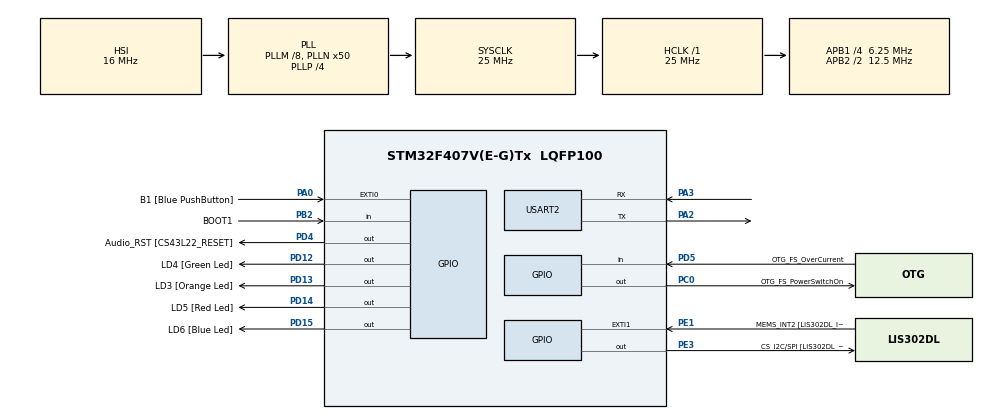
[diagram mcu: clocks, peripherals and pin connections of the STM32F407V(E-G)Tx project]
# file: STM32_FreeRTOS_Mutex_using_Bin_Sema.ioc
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Mcu.Family=STM32F4
Mcu.Name=STM32F407V(E-G)Tx
Mcu.Package=LQFP100
NVIC.PriorityGroup=NVIC_PRIORITYGROUP_4
NVIC.TIM6_DAC_IRQn=true\:0\:0\:false\:false\:true\:false\:true
NVIC.TimeBase=TIM6_DAC_IRQn
NVIC.TimeBaseIP=TIM6
PA0-WKUP.GPIO_Label=B1 [Blue PushButton]
PA0-WKUP.Signal=GPXTI0
PA10.GPIO_Label=OTG_FS_ID
PA10.GPIO_Mode=GPIO_MODE_AF_PP
PA10.GPIO_PuPd=GPIO_NOPULL
PA10.GPIO_Speed=GPIO_SPEED_FREQ_LOW
PA10.Signal=USB_OTG_FS_ID
PA11.GPIO_Label=OTG_FS_DM
PA11.GPIO_Mode=GPIO_MODE_AF_PP
PA11.GPIO_PuPd=GPIO_NOPULL
PA11.GPIO_Speed=GPIO_SPEED_FREQ_LOW
PA11.Signal=USB_OTG_FS_DM
PA12.GPIO_Label=OTG_FS_DP
PA12.GPIO_Mode=GPIO_MODE_AF_PP
PA12.GPIO_PuPd=GPIO_NOPULL
PA12.GPIO_Speed=GPIO_SPEED_FREQ_LOW
PA12.Signal=USB_OTG_FS_DP
PA13.GPIO_Label=SWDIO
PA13.Signal=SYS_JTMS-SWDIO
PA14.GPIO_Label=SWCLK
PA14.Signal=SYS_JTCK-SWCLK
PA2.Mode=Asynchronous
PA2.Signal=USART2_TX
PA3.Mode=Asynchronous
PA3.Signal=USART2_RX
PA4.GPIO_Label=I2S3_WS [CS43L22_LRCK]
PA4.GPIO_Mode=GPIO_MODE_AF_PP
PA4.GPIO_PuPd=GPIO_NOPULL
PA4.GPIO_Speed=GPIO_SPEED_FREQ_LOW
PA4.Signal=I2S3_WS
PA5.GPIO_Label=SPI1_SCK [LIS302DL_SCL/SPC]
PA5.GPIO_Mode=GPIO_MODE_AF_PP
PA5.GPIO_PuPd=GPIO_NOPULL
PA5.GPIO_Speed=GPIO_SPEED_FREQ_LOW
PA5.Signal=SPI1_SCK
PA6.GPIO_Label=SPI1_MISO [LIS302DL_SDO]
PA6.GPIO_Mode=GPIO_MODE_AF_PP
PA6.GPIO_PuPd=GPIO_NOPULL
PA6.GPIO_Speed=GPIO_SPEED_FREQ_LOW
PA6.Signal=SPI1_MISO
PA7.GPIO_Label=SPI1_MOSI [LIS302DL_SDA/SDI/SDO]
PA7.GPIO_Mode=GPIO_MODE_AF_PP
PA7.GPIO_PuPd=GPIO_NOPULL
PA7.GPIO_Speed=GPIO_SPEED_FREQ_LOW
PA7.Signal=SPI1_MOSI
PA9.GPIO_Label=VBUS_FS
PA9.GPIO_Mode=GPIO_MODE_INPUT
PA9.GPIO_PuPd=GPIO_NOPULL
PA9.Signal=USB_OTG_FS_VBUS
PB10.GPIO_Label=CLK_IN [MP45DT02_CLK]
PB10.GPIO_Mode=GPIO_MODE_AF_PP
PB10.GPIO_PuPd=GPIO_NOPULL
PB10.GPIO_Speed=GPIO_SPEED_FREQ_LOW
PB10.Signal=I2S2_CK
PB2.GPIO_Label=BOOT1
PB2.GPIO_Mode=GPIO_MODE_INPUT
PB2.GPIO_PuPd=GPIO_NOPULL
PB2.Signal=GPIO_Input
PB3.GPIO_Label=SWO
PB3.Signal=SYS_JTDO-SWO
PB6.GPIO_Label=Audio_SCL [CS43L22_SCL]
PB6.GPIO_Mode=GPIO_MODE_AF_OD
PB6.GPIO_PuPd=GPIO_NOPULL
PB6.GPIO_Speed=GPIO_SPEED_FREQ_LOW
PB6.Signal=I2C1_SCL
PB9.GPIO_Label=Audio_SDA [CS43L22_SDA]
PB9.GPIO_Mode=GPIO_MODE_AF_OD
PB9.GPIO_PuPd=GPIO_NOPULL
PB9.GPIO_Speed=GPIO_SPEED_FREQ_LOW
PB9.Signal=I2C1_SDA
PC0.GPIO_Label=OTG_FS_PowerSwitchOn
PC0.GPIO_PuPd=GPIO_NOPULL
PC0.GPIO_Speed=GPIO_SPEED_FREQ_LOW
PC0.PinState=GPIO_PIN_SET
PC0.Signal=GPIO_Output
PC10.GPIO_Label=I2S3_SCK [CS43L22_SCLK]
PC10.GPIO_Mode=GPIO_MODE_AF_PP
PC10.GPIO_PuPd=GPIO_NOPULL
PC10.GPIO_Speed=GPIO_SPEED_FREQ_LOW
PC10.Signal=I2S3_CK
PC12.GPIO_Label=I2S3_SD [CS43L22_SDIN]
PC12.GPIO_Mode=GPIO_MODE_AF_PP
PC12.GPIO_PuPd=GPIO_NOPULL
PC12.GPIO_Speed=GPIO_SPEED_FREQ_LOW
PC12.Signal=I2S3_SD
PC14-OSC32_IN.GPIO_Label=PC14-OSC32_IN
PC14-OSC32_IN.Signal=RCC_OSC32_IN
PC15-OSC32_OUT.GPIO_Label=PC15-OSC32_OUT
PC15-OSC32_OUT.Signal=RCC_OSC32_OUT
PC3.GPIO_Label=PDM_OUT [MP45DT02_DOUT]
PC3.GPIO_Mode=GPIO_MODE_AF_PP
PC3.GPIO_PuPd=GPIO_NOPULL
PC3.GPIO_Speed=GPIO_SPEED_FREQ_LOW
PC3.Signal=I2S2_SD
PC7.GPIO_Label=I2S3_MCK [CS43L22_MCLK]
PC7.GPIO_Mode=GPIO_MODE_AF_PP
PC7.GPIO_PuPd=GPIO_NOPULL
PC7.GPIO_Speed=GPIO_SPEED_FREQ_LOW
PC7.Signal=I2S3_MCK
PD12.GPIO_Label=LD4 [Green Led]
PD12.GPIO_PuPd=GPIO_NOPULL
PD12.GPIO_Speed=GPIO_SPEED_FREQ_LOW
PD12.Signal=GPIO_Output
PD13.GPIO_Label=LD3 [Orange Led]
PD13.GPIO_PuPd=GPIO_NOPULL
PD13.GPIO_Speed=GPIO_SPEED_FREQ_LOW
PD13.Signal=GPIO_Output
PD14.GPIO_Label=LD5 [Red Led]
PD14.GPIO_PuPd=GPIO_NOPULL
PD14.GPIO_Speed=GPIO_SPEED_FREQ_LOW
PD14.Signal=GPIO_Output
PD15.GPIO_Label=LD6 [Blue Led]
PD15.GPIO_PuPd=GPIO_NOPULL
PD15.GPIO_Speed=GPIO_SPEED_FREQ_LOW
PD15.Signal=GPIO_Output
PD4.GPIO_Label=Audio_RST [CS43L22_RESET]
PD4.GPIO_PuPd=GPIO_NOPULL
PD4.GPIO_Speed=GPIO_SPEED_FREQ_LOW
PD4.Signal=GPIO_Output
PD5.GPIO_Label=OTG_FS_OverCurrent
PD5.GPIO_Mode=GPIO_MODE_INPUT
PD5.GPIO_PuPd=GPIO_NOPULL
PD5.Signal=GPIO_Input
PE1.GPIO_Label=MEMS_INT2 [LIS302DL_INT2]
PE1.GPIO_ModeDefaultEXTI=GPIO_MODE_EVT_RISING
PE1.GPIO_PuPd=GPIO_NOPULL
PE1.Signal=GPXTI1
PE3.GPIO_Label=CS_I2C/SPI [LIS302DL_CS_I2C/SPI]
PE3.GPIO_PuPd=GPIO_NOPULL
PE3.GPIO_Speed=GPIO_SPEED_FREQ_LOW
PE3.Signal=GPIO_Output
PH0-OSC_IN.GPIO_Label=PH0-OSC_IN
PH0-OSC_IN.Signal=RCC_OSC_IN
PH1-OSC_OUT.GPIO_Label=PH1-OSC_OUT
PH1-OSC_OUT.Signal=RCC_OSC_OUT
ProjectManager.HeapSize=0x200
ProjectManager.StackSize=0x400
ProjectManager.TargetToolchain=STM32CubeIDE
RCC.48MHZClocksFreq_Value=14285714.285714285
RCC.AHBFreq_Value=25000000
RCC.APB1CLKDivider=RCC_HCLK_DIV4
RCC.APB1Freq_Value=6250000
RCC.APB1TimFreq_Value=12500000
RCC.APB2CLKDivider=RCC_HCLK_DIV2
RCC.APB2Freq_Value=12500000
RCC.APB2TimFreq_Value=25000000
RCC.CortexFreq_Value=25000000
RCC.HCLKFreq_Value=25000000
RCC.HSE_VALUE=8000000
RCC.HSI_VALUE=16000000
RCC.LSE_VALUE=32768
RCC.PLLM=8
RCC.PLLN=50
RCC.PLLP=RCC_PLLP_DIV4
RCC.PLLQ=7
RCC.SYSCLKFreq_VALUE=25000000
RCC.SYSCLKSource=RCC_SYSCLKSOURCE_PLLCLK
RCC.VCOOutputFreq_Value=100000000
USART2.VirtualMode=VM_ASYNC
VP_SYS_VS_tim6.Mode=TIM6
board=STM32F407G-DISC1

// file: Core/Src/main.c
/* USER CODE BEGIN Header */
/**
  ******************************************************************************
  * @file           : main.c
  * @brief          : Main program body
  ******************************************************************************
  * @attention
  *
  * Copyright (c) 2024 STMicroelectronics.
  * All rights reserved.
  *
  * This software is licensed under terms that can be found in the LICENSE file
  * in the root directory of this software component.
  * If no LICENSE file comes with this software, it is provided AS-IS.
  *
  ******************************************************************************
  */
/* USER CODE END Header */
#include "main.h"

UART_HandleTypeDef huart2;

/* USER CODE BEGIN PV */
TaskHandle_t Task1_handle;
TaskHandle_t Task2_handle;

xSemaphoreHandle bin_sema;

/* USER CODE END PV */

void SystemClock_Config(void);
static void MX_GPIO_Init(void);
static void MX_USART2_UART_Init(void);
/* USER CODE BEGIN PFP */

void Task1_handler(void *pvparameters);
void Task2_handler(void *pvparameters);
void print_msg(char *msg);

char usr_msg[250]={0};

/* USER CODE END PFP */

int main(void)
{

  /* MCU Configuration--------------------------------------------------------*/

  /* Reset of all peripherals, Initializes the Flash interface and the Systick. */
  HAL_Init();

  /* Configure the system clock */
  SystemClock_Config();

  /* Initialize all configured peripherals */
  MX_GPIO_Init();
  MX_USART2_UART_Init();
  /* USER CODE BEGIN 2 */

  vSemaphoreCreateBinary(bin_sema);

  if (bin_sema!=NULL)
  {
  xTaskCreate(Task1_handler, "Task-1", 500, NULL, 2, NULL);
  xTaskCreate(Task2_handler, "Task-2", 500, NULL, 2, NULL);

  //xSemaphoreGive(bin_sema);
  vTaskStartScheduler();

  }
  else
  {
	  printf("Binary semaphore creation failed\n");
  }

  /* USER CODE END 2 */

  /* Infinite loop */
  while (1)
  {

  }
}

void SystemClock_Config(void)
{
  RCC_OscInitTypeDef RCC_OscInitStruct = {0};
  RCC_ClkInitTypeDef RCC_ClkInitStruct = {0};

  /** Configure the main internal regulator output voltage
  */
  __HAL_RCC_PWR_CLK_ENABLE();
  __HAL_PWR_VOLTAGESCALING_CONFIG(PWR_REGULATOR_VOLTAGE_SCALE1);
  /** Initializes the RCC Oscillators according to the specified parameters
  * in the RCC_OscInitTypeDef structure.
  */
  RCC_OscInitStruct.OscillatorType = RCC_OSCILLATORTYPE_HSI;
  RCC_OscInitStruct.HSIState = RCC_HSI_ON;
  RCC_OscInitStruct.HSICalibrationValue = RCC_HSICALIBRATION_DEFAULT;
  RCC_OscInitStruct.PLL.PLLState = RCC_PLL_ON;
  RCC_OscInitStruct.PLL.PLLSource = RCC_PLLSOURCE_HSI;
  RCC_OscInitStruct.PLL.PLLM = 8;
  RCC_OscInitStruct.PLL.PLLN = 50;
  RCC_OscInitStruct.PLL.PLLP = RCC_PLLP_DIV4;
  RCC_OscInitStruct.PLL.PLLQ = 7;
  if (HAL_RCC_OscConfig(&RCC_OscInitStruct) != HAL_OK)
  {
    Error_Handler();
  }
  /** Initializes the CPU, AHB and APB buses clocks
  */
  RCC_ClkInitStruct.ClockType = RCC_CLOCKTYPE_HCLK|RCC_CLOCKTYPE_SYSCLK
                              |RCC_CLOCKTYPE_PCLK1|RCC_CLOCKTYPE_PCLK2;
  RCC_ClkInitStruct.SYSCLKSource = RCC_SYSCLKSOURCE_PLLCLK;
  RCC_ClkInitStruct.AHBCLKDivider = RCC_SYSCLK_DIV1;
  RCC_ClkInitStruct.APB1CLKDivider = RCC_HCLK_DIV4;
  RCC_ClkInitStruct.APB2CLKDivider = RCC_HCLK_DIV2;

  if (HAL_RCC_ClockConfig(&RCC_ClkInitStruct, FLASH_LATENCY_0) != HAL_OK)
  {
    Error_Handler();
  }
}

static void MX_USART2_UART_Init(void)
{

  huart2.Instance = USART2;
  huart2.Init.BaudRate = 115200;
  huart2.Init.WordLength = UART_WORDLENGTH_8B;
  huart2.Init.StopBits = UART_STOPBITS_1;
  huart2.Init.Parity = UART_PARITY_NONE;
  huart2.Init.Mode = UART_MODE_TX_RX;
  huart2.Init.HwFlowCtl = UART_HWCONTROL_NONE;
  huart2.Init.OverSampling = UART_OVERSAMPLING_16;
  if (HAL_UART_Init(&huart2) != HAL_OK)
  {
    Error_Handler();
  }

}

static void MX_GPIO_Init(void)
{
  GPIO_InitTypeDef GPIO_InitStruct = {0};

  /* GPIO Ports Clock Enable */
  __HAL_RCC_GPIOE_CLK_ENABLE();
  __HAL_RCC_GPIOC_CLK_ENABLE();
  __HAL_RCC_GPIOH_CLK_ENABLE();
  __HAL_RCC_GPIOA_CLK_ENABLE();
  __HAL_RCC_GPIOB_CLK_ENABLE();
  __HAL_RCC_GPIOD_CLK_ENABLE();

  /*Configure GPIO pin Output Level */
  HAL_GPIO_WritePin(CS_I2C_SPI_GPIO_Port, CS_I2C_SPI_Pin, GPIO_PIN_RESET);

  /*Configure GPIO pin Output Level */
  HAL_GPIO_WritePin(OTG_FS_PowerSwitchOn_GPIO_Port, OTG_FS_PowerSwitchOn_Pin, GPIO_PIN_SET);

  /*Configure GPIO pin Output Level */
  HAL_GPIO_WritePin(GPIOD, LD4_Pin|LD3_Pin|LD5_Pin|LD6_Pin
                          |Audio_RST_Pin, GPIO_PIN_RESET);

  /*Configure GPIO pin : CS_I2C_SPI_Pin */
  GPIO_InitStruct.Pin = CS_I2C_SPI_Pin;
  GPIO_InitStruct.Mode = GPIO_MODE_OUTPUT_PP;
  GPIO_InitStruct.Pull = GPIO_NOPULL;
  GPIO_InitStruct.Speed = GPIO_SPEED_FREQ_LOW;
  HAL_GPIO_Init(CS_I2C_SPI_GPIO_Port, &GPIO_InitStruct);

  /*Configure GPIO pin : OTG_FS_PowerSwitchOn_Pin */
  GPIO_InitStruct.Pin = OTG_FS_PowerSwitchOn_Pin;
  GPIO_InitStruct.Mode = GPIO_MODE_OUTPUT_PP;
  GPIO_InitStruct.Pull = GPIO_NOPULL;
  GPIO_InitStruct.Speed = GPIO_SPEED_FREQ_LOW;
  HAL_GPIO_Init(OTG_FS_PowerSwitchOn_GPIO_Port, &GPIO_InitStruct);

  /*Configure GPIO pin : PDM_OUT_Pin */
  GPIO_InitStruct.Pin = PDM_OUT_Pin;
  GPIO_InitStruct.Mode = GPIO_MODE_AF_PP;
  GPIO_InitStruct.Pull = GPIO_NOPULL;
  GPIO_InitStruct.Speed = GPIO_SPEED_FREQ_LOW;
  GPIO_InitStruct.Alternate = GPIO_AF5_SPI2;
  HAL_GPIO_Init(PDM_OUT_GPIO_Port, &GPIO_InitStruct);

  /*Configure GPIO pin : B1_Pin */
  GPIO_InitStruct.Pin = B1_Pin;
  GPIO_InitStruct.Mode = GPIO_MODE_IT_RISING;
  GPIO_InitStruct.Pull = GPIO_NOPULL;
  HAL_GPIO_Init(B1_GPIO_Port, &GPIO_InitStruct);

  /*Configure GPIO pin : I2S3_WS_Pin */
  GPIO_InitStruct.Pin = I2S3_WS_Pin;
  GPIO_InitStruct.Mode = GPIO_MODE_AF_PP;
  GPIO_InitStruct.Pull = GPIO_NOPULL;
  GPIO_InitStruct.Speed = GPIO_SPEED_FREQ_LOW;
  GPIO_InitStruct.Alternate = GPIO_AF6_SPI3;
  HAL_GPIO_Init(I2S3_WS_GPIO_Port, &GPIO_InitStruct);

  /*Configure GPIO pins : SPI1_SCK_Pin SPI1_MISO_Pin SPI1_MOSI_Pin */
  GPIO_InitStruct.Pin = SPI1_SCK_Pin|SPI1_MISO_Pin|SPI1_MOSI_Pin;
  GPIO_InitStruct.Mode = GPIO_MODE_AF_PP;
  GPIO_InitStruct.Pull = GPIO_NOPULL;
  GPIO_InitStruct.Speed = GPIO_SPEED_FREQ_LOW;
  GPIO_InitStruct.Alternate = GPIO_AF5_SPI1;
  HAL_GPIO_Init(GPIOA, &GPIO_InitStruct);

  /*Configure GPIO pin : BOOT1_Pin */
  GPIO_InitStruct.Pin = BOOT1_Pin;
  GPIO_InitStruct.Mode = GPIO_MODE_INPUT;
  GPIO_InitStruct.Pull = GPIO_NOPULL;
  HAL_GPIO_Init(BOOT1_GPIO_Port, &GPIO_InitStruct);

  /*Configure GPIO pin : CLK_IN_Pin */
  GPIO_InitStruct.Pin = CLK_IN_Pin;
  GPIO_InitStruct.Mode = GPIO_MODE_AF_PP;
  GPIO_InitStruct.Pull = GPIO_NOPULL;
  GPIO_InitStruct.Speed = GPIO_SPEED_FREQ_LOW;
  GPIO_InitStruct.Alternate = GPIO_AF5_SPI2;
  HAL_GPIO_Init(CLK_IN_GPIO_Port, &GPIO_InitStruct);

  /*Configure GPIO pins : LD4_Pin LD3_Pin LD5_Pin LD6_Pin
                           Audio_RST_Pin */
  GPIO_InitStruct.Pin = LD4_Pin|LD3_Pin|LD5_Pin|LD6_Pin
                          |Audio_RST_Pin;
  GPIO_InitStruct.Mode = GPIO_MODE_OUTPUT_PP;
  GPIO_InitStruct.Pull = GPIO_NOPULL;
  GPIO_InitStruct.Speed = GPIO_SPEED_FREQ_LOW;
  HAL_GPIO_Init(GPIOD, &GPIO_InitStruct);

  /*Configure GPIO pins : I2S3_MCK_Pin I2S3_SCK_Pin I2S3_SD_Pin */
  GPIO_InitStruct.Pin = I2S3_MCK_Pin|I2S3_SCK_Pin|I2S3_SD_Pin;
  GPIO_InitStruct.Mode = GPIO_MODE_AF_PP;
  GPIO_InitStruct.Pull = GPIO_NOPULL;
  GPIO_InitStruct.Speed = GPIO_SPEED_FREQ_LOW;
  GPIO_InitStruct.Alternate = GPIO_AF6_SPI3;
  HAL_GPIO_Init(GPIOC, &GPIO_InitStruct);

  /*Configure GPIO pin : VBUS_FS_Pin */
  GPIO_InitStruct.Pin = VBUS_FS_Pin;
  GPIO_InitStruct.Mode = GPIO_MODE_INPUT;
  GPIO_InitStruct.Pull = GPIO_NOPULL;
  HAL_GPIO_Init(VBUS_FS_GPIO_Port, &GPIO_InitStruct);

  /*Configure GPIO pins : OTG_FS_ID_Pin OTG_FS_DM_Pin OTG_FS_DP_Pin */
  GPIO_InitStruct.Pin = OTG_FS_ID_Pin|OTG_FS_DM_Pin|OTG_FS_DP_Pin;
  GPIO_InitStruct.Mode = GPIO_MODE_AF_PP;
  GPIO_InitStruct.Pull = GPIO_NOPULL;
  GPIO_InitStruct.Speed = GPIO_SPEED_FREQ_LOW;
  GPIO_InitStruct.Alternate = GPIO_AF10_OTG_FS;
  HAL_GPIO_Init(GPIOA, &GPIO_InitStruct);

  /*Configure GPIO pin : OTG_FS_OverCurrent_Pin */
  GPIO_InitStruct.Pin = OTG_FS_OverCurrent_Pin;
  GPIO_InitStruct.Mode = GPIO_MODE_INPUT;
  GPIO_InitStruct.Pull = GPIO_NOPULL;
  HAL_GPIO_Init(OTG_FS_OverCurrent_GPIO_Port, &GPIO_InitStruct);

  /*Configure GPIO pins : Audio_SCL_Pin Audio_SDA_Pin */
  GPIO_InitStruct.Pin = Audio_SCL_Pin|Audio_SDA_Pin;
  GPIO_InitStruct.Mode = GPIO_MODE_AF_OD;
  GPIO_InitStruct.Pull = GPIO_NOPULL;
  GPIO_InitStruct.Speed = GPIO_SPEED_FREQ_LOW;
  GPIO_InitStruct.Alternate = GPIO_AF4_I2C1;
  HAL_GPIO_Init(GPIOB, &GPIO_InitStruct);

  /*Configure GPIO pin : MEMS_INT2_Pin */
  GPIO_InitStruct.Pin = MEMS_INT2_Pin;
  GPIO_InitStruct.Mode = GPIO_MODE_EVT_RISING;
  GPIO_InitStruct.Pull = GPIO_NOPULL;
  HAL_GPIO_Init(MEMS_INT2_GPIO_Port, &GPIO_InitStruct);

}

/* USER CODE BEGIN 4 */

void Task1_handler(void *pvparameters)
{
	const char *msg="Task 1 is running\r\n";

	while(1)
	{
		xSemaphoreTake(bin_sema,portMAX_DELAY);
		//sprintf(usr_msg,"%s", msg);
		//print_msg(usr_msg);
		printf("%s\n",msg);
		//vTaskDelay(pdMS_TO_TICKS(500));
		xSemaphoreGive(bin_sema);
		vTaskDelay(pdMS_TO_TICKS(500));
	}
}

void Task2_handler(void *pvparameters)
{
	const char *msg="Task 2 is running\r\n";

	while(1)
	{
		xSemaphoreTake(bin_sema,portMAX_DELAY);
		//sprintf(usr_msg,"%s", msg);
		//print_msg(usr_msg);
		printf("%s\n",msg);
		//vTaskDelay(pdMS_TO_TICKS(500));
		xSemaphoreGive(bin_sema);
		vTaskDelay(pdMS_TO_TICKS(500));
	}
}

void print_msg(char *msg)
{
	HAL_UART_Transmit(&huart2, (uint8_t*)msg, strlen(msg), HAL_MAX_DELAY);

}
/* USER CODE END 4 */

void HAL_TIM_PeriodElapsedCallback(TIM_HandleTypeDef *htim)
{
  if (htim->Instance == TIM6) {
    HAL_IncTick();
  }
}

void Error_Handler(void)
{
  __disable_irq();
  while (1)
  {
  }
}
